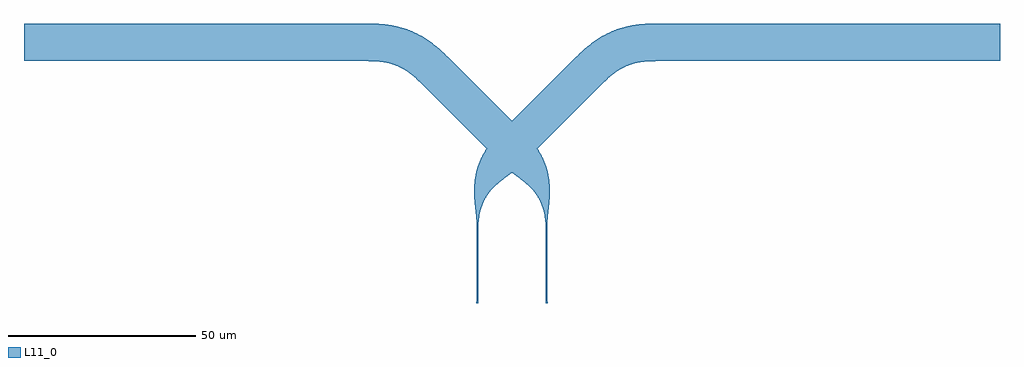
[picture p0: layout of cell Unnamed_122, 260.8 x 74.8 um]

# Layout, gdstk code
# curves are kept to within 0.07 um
from math import pi, radians
import gdstk
lib = gdstk.Library(unit=1e-6, precision=1e-09)
def P(c, l, *ps):  # polygons
    for p in ps: c.add(gdstk.Polygon(p, *l))
L11_0 = (11, 0)

unnamed_125 = lib.new_cell('Unnamed_125')
P(unnamed_125, L11_0, [(20.787,-8.81),(18.877,-7.12),(16.746,-5.722),(14.619,-4.781),(12.602,-4.266),(10.763,-4.061),(8.793,-4.072),(2.812,-4.843),(0,-5),(0,5),(3.078,4.788),(5.914,4.187),(8.783,3.114),(11.256,1.711),(13.451,0.019),(15.666,-2.173),(19.344,-6.633),(21.069,-8.527)])

unnamed_126 = lib.new_cell('Unnamed_126')
P(unnamed_126, L11_0, [(0,-0.2),(0,0.2),(19.8,0.2),(19.8,0.4),(20.2,0.4),(20.2,-0.2)])

unnamed_124 = lib.new_cell('Unnamed_124')
P(unnamed_124, L11_0, [(127.393,-32.204),(104.622,-9.528),(103.118,-8.274),(101.507,-7.187),(99.798,-6.327),(98.135,-5.732),(95.332,-5.186),(91.531,-5.004),(0,-5),(0,5),(92.025,4.992),(94.615,4.906),(96.9,4.698),(99.04,4.342),(100.944,3.865),(103.489,2.969),(106.138,1.684),(108.413,0.244),(110.796,-1.64),(113.614,-4.286),(134.464,-25.133)])

unnamed_123 = lib.new_cell('Unnamed_123')
unnamed_123.add(gdstk.Reference(unnamed_125, (130.928,-28.669), rotation=radians(315)))
unnamed_123.add(gdstk.Reference(unnamed_126, (139.597,-49.597), rotation=3*pi/2))
unnamed_123.add(gdstk.Reference(unnamed_124, (0,0)))

unnamed_122 = lib.new_cell('Unnamed_122')
unnamed_122.add(gdstk.Reference(unnamed_123, (260.8,0), rotation=pi, x_reflection=True))
unnamed_122.add(gdstk.Reference(unnamed_123, (0,0)))

lib.write_gds('Unnamed_122.gds')
